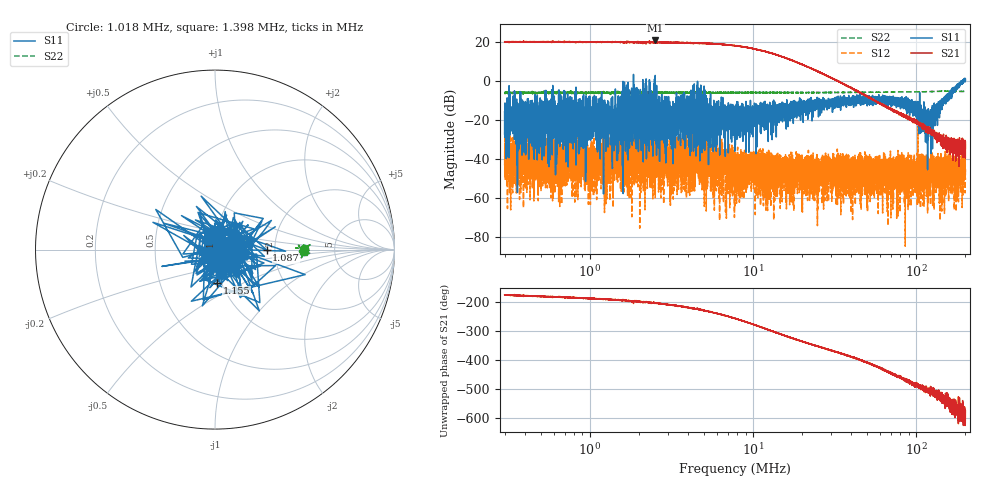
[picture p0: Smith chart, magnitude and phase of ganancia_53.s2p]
# Hz S DB R 50
! CMT, M5065, 19127446, 24.2.4/2
! Date: 11/1/2024 3:45:42 PM
! Data: Format (Calibration Info)
! Freq	S11:dB/Ang(F2)	S21:dB/Ang(F2)	S12:dB/Ang(F2)	S22:dB/Ang(F2)
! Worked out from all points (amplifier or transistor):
!   9000 points, 300 kHz to 200 MHz, reference 50 ohm
!   highest |S21| = 20.7 dB at 2.512 MHz (marker M1)
!   |S21| within 3 dB of that: start of sweep to 8.214 MHz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
!   unconditionally stable (mu >= 1): 2.754 MHz to 3.739 MHz; 5.057 MHz to 188.1 MHz; 188.3 MHz to 190 MHz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
!   at 886.8 kHz: K = 3.44, MAG = 21.2 dB, |S12| = -39.0 dB
!   at 7.749 MHz: K = 5.20, MAG = 19.4 dB, |S12| = -41.0 dB
!   at 200 MHz: K = -486.18, MSG = 8.0 dB, |S12| = -50.6 dB
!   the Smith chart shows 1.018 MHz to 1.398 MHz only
!   S11 on the Smith chart (normalised r, x): 1.018 MHz: 1.29, +0.05; 1.087 MHz: 1.81, -0.01; 1.155 MHz: 0.96, -0.36; 1.398 MHz: 0.97, -0.02
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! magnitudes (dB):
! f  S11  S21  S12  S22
! 300 kHz  -27.2  20.0  -43.2  -6.1
! 327.6 kHz  -13.9  20.1  -31.4  -6.2
! 362.8 kHz  -28.1  20.0  -34.0  -6.2
! 593.4 kHz  -23.3  20.0  -60.1  -6.0
! 633.3 kHz  -16.4  20.0  -49.7  -6.0
! 688.1 kHz  -25.8  20.0  -47.3  -6.1
! 886.8 kHz  -25.2  20.0  -39.0  -6.2
! 1.018 MHz  -17.8  19.9  -37.5  -6.1
! 1.087 MHz  -10.8  19.7  -39.2  -5.9
! 1.155 MHz  -14.7  19.9  -37.9  -6.2
! 1.398 MHz  -34.7  19.9  -37.5  -6.1
! 2.512 MHz  2.8  20.7  -22.7  -7.1
! 2.621 MHz  -26.6  19.7  -47.6  -6.1
! 4.151 MHz  -20.8  19.5  -32.4  -6.1
! 4.523 MHz  -18.3  19.3  -46.0  -6.0
! 5.092 MHz  -13.4  19.3  -43.2  -5.9
! 7.749 MHz  -17.4  18.0  -41.0  -6.0
! 22.91 MHz  -12.3  6.3  -39.1  -5.9
! 67.71 MHz  -9.6  -13.6  -43.0  -5.7
! 90.86 MHz  -11.6  -19.5  -40.8  -5.6
! 116.7 MHz  -21.4  -26.0  -39.7  -5.5
! 200 MHz  0.3  -34.6  -50.6  -5.4
